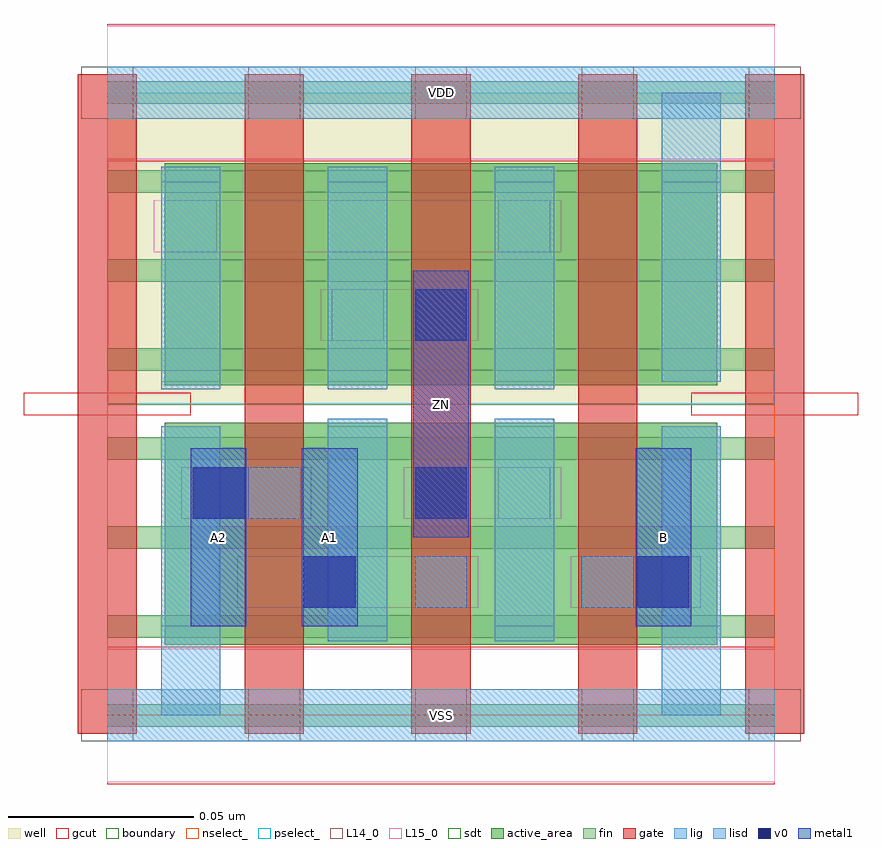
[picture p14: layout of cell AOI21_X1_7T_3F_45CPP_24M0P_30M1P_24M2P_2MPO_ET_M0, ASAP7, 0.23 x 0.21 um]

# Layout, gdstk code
import gdstk
lib = gdstk.Library(unit=1e-6, precision=2.5e-10)
def R(c, l, rs):  # rectangles x0, y0, x1, y1
    for r in rs: c.add(gdstk.rectangle(r[:2], r[2:], *l))
def A(c, l, x, y, w, h, nx, ny, dx, dy):  # array of equal rectangles
    R(c, l, [(x+i*dx, y+j*dy, x+i*dx+w, y+j*dy+h) for i in range(nx) for j in range(ny)])
well = (1, 0)
fin = (2, 0)
gate = (7, 0)
gcut = (10, 0)
active_area = (11, 0)
nselect_ = (12, 0)
pselect_ = (13, 0)
L14_0 = (14, 0)
L15_0 = (15, 0)
lig = (16, 0)
lisd = (17, 0)
v0 = (18, 0)
metal1 = (19, 0)
sdt = (88, 0)
boundary = (100, 0)

aoi21_x1_7t_3f_45cpp_24m = lib.new_cell('AOI21_X1_7T_3F_45CPP_24M0P_30M1P_24M2P_2MPO_ET_M0')
R(aoi21_x1_7t_3f_45cpp_24m, well, [(0,0.084,0.18,0.168)])
A(aoi21_x1_7t_3f_45cpp_24m, fin, 0, -0.003, 0.18, 0.006, 1, 8, 0, 0.024)
A(aoi21_x1_7t_3f_45cpp_24m, gate, -0.008, -0.005, 0.016, 0.178, 5, 1, 0.045, 0)
R(aoi21_x1_7t_3f_45cpp_24m, gcut, [(0,-0.0185,0.18,0.0185), (-0.0225,0.081,0.0225,0.087), (0.1575,0.081,0.2025,0.087), (0,0.1495,0.18,0.1865)])
A(aoi21_x1_7t_3f_45cpp_24m, active_area, 0.0155, 0.019, 0.059, 0.06, 3, 2, 0.045, 0.07)
R(aoi21_x1_7t_3f_45cpp_24m, nselect_, [(0,0,0.18,0.084)])
R(aoi21_x1_7t_3f_45cpp_24m, pselect_, [(0,0.084,0.18,0.168)])
A(aoi21_x1_7t_3f_45cpp_24m, L14_0, -0.007, -0.007, 0.014, 0.014, 5, 2, 0.045, 0.168)
R(aoi21_x1_7t_3f_45cpp_24m, L14_0, [(0.083,0.029,0.097,0.043), (0.128,0.029,0.142,0.043), (0.038,0.053,0.052,0.067), (0.1055,0.053,0.1195,0.067), (0.0605,0.101,0.0745,0.115), (0.0155,0.125,0.0295,0.139), (0.1055,0.125,0.1195,0.139)])
R(aoi21_x1_7t_3f_45cpp_24m, L15_0, [(0,-0.018,0.18,0.018), (0.035,0.029,0.1,0.043), (0.125,0.029,0.16,0.043), (0.02,0.053,0.055,0.067), (0.08,0.053,0.1225,0.067), (0.0575,0.101,0.1,0.115), (0.0125,0.125,0.1225,0.139), (0,0.15,0.18,0.186)])
R(aoi21_x1_7t_3f_45cpp_24m, lig, [(0,-0.007,0.18,0.007), (0.083,0.029,0.097,0.043), (0.128,0.029,0.142,0.043), (0.038,0.053,0.052,0.067), (0,0.161,0.18,0.175)])
A(aoi21_x1_7t_3f_45cpp_24m, lisd, 0.0145, 0.088, 0.016, 0.06, 3, 1, 0.045, 0)
R(aoi21_x1_7t_3f_45cpp_24m, lisd, [(0.0145,0,0.0305,0.078), (0.1495,0,0.1655,0.078), (0.0595,0.02,0.0755,0.08), (0.1045,0.02,0.1205,0.08), (0.1495,0.09,0.1655,0.168)])
R(aoi21_x1_7t_3f_45cpp_24m, v0, [(0.053,0.029,0.067,0.043), (0.143,0.029,0.157,0.043), (0.023,0.053,0.037,0.067), (0.083,0.053,0.097,0.067), (0.083,0.101,0.097,0.115)])
R(aoi21_x1_7t_3f_45cpp_24m, metal1, [(0.0225,0.024,0.0375,0.072), (0.0525,0.024,0.0675,0.072), (0.1425,0.024,0.1575,0.072), (0.0825,0.048,0.0975,0.12)])
A(aoi21_x1_7t_3f_45cpp_24m, sdt, 0.0145, 0.024, 0.016, 0.054, 4, 2, 0.045, 0.066)
R(aoi21_x1_7t_3f_45cpp_24m, boundary, [(0,0,0.18,0.168)])
aoi21_x1_7t_3f_45cpp_24m.add(gdstk.Label('B', (0.15,0.048), layer=19, texttype=251))
aoi21_x1_7t_3f_45cpp_24m.add(gdstk.Label('ZN', (0.09,0.084), layer=19, texttype=251))
aoi21_x1_7t_3f_45cpp_24m.add(gdstk.Label('A1', (0.06,0.048), layer=19, texttype=251))
aoi21_x1_7t_3f_45cpp_24m.add(gdstk.Label('A2', (0.03,0.048), layer=19, texttype=251))
aoi21_x1_7t_3f_45cpp_24m.add(gdstk.Label('VDD', (0.09,0.168), layer=15, texttype=251))
aoi21_x1_7t_3f_45cpp_24m.add(gdstk.Label('VSS', (0.09,0), layer=15, texttype=251))
aoi21_x1_7t_3f_45cpp_24m.add(gdstk.Label('VDD', (0.09,0.168), layer=1, texttype=251))
aoi21_x1_7t_3f_45cpp_24m.add(gdstk.Label('VSS', (0.09,0), layer=3, texttype=251))

lib.write_gds('AOI21_X1_7T_3F_45CPP_24M0P_30M1P_24M2P_2MPO_ET_M0.gds')
